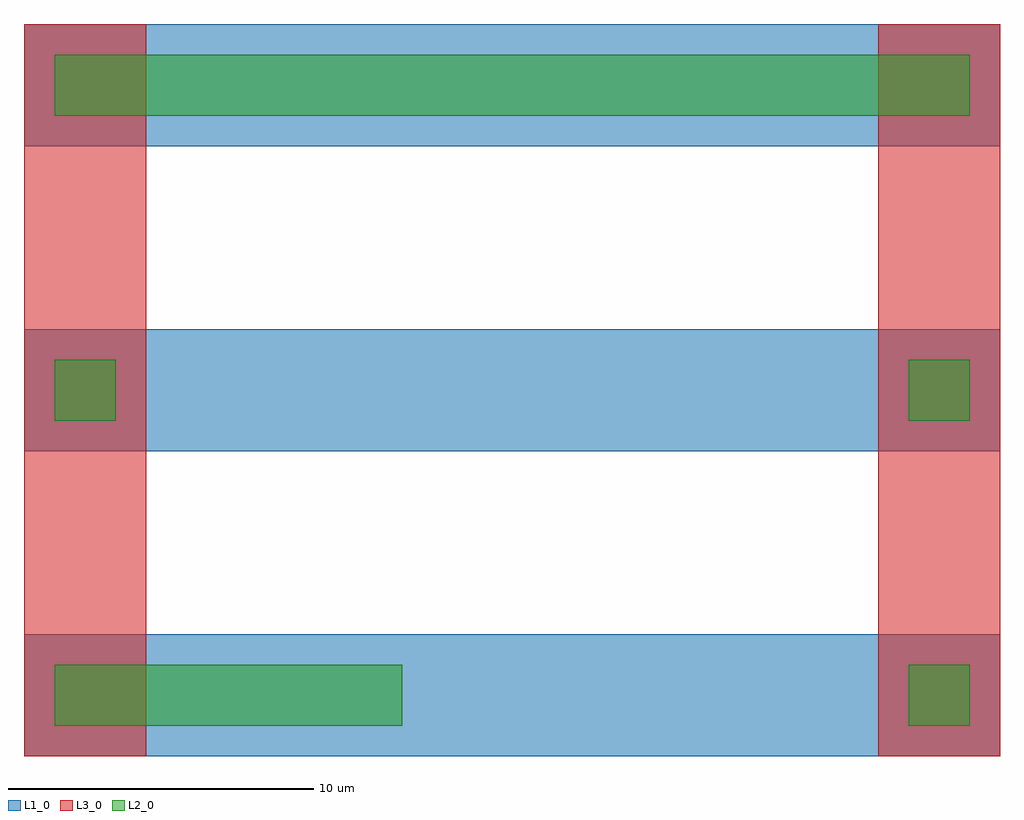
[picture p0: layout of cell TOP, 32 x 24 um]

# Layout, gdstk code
import gdstk
lib = gdstk.Library(unit=1e-6, precision=1e-09)
def R(c, l, rs):  # rectangles x0, y0, x1, y1
    for r in rs: c.add(gdstk.rectangle(r[:2], r[2:], *l))
def A(c, l, x, y, w, h, nx, ny, dx, dy):  # array of equal rectangles
    R(c, l, [(x+i*dx, y+j*dy, x+i*dx+w, y+j*dy+h) for i in range(nx) for j in range(ny)])
L1_0 = (1, 0)
L2_0 = (2, 0)
L3_0 = (3, 0)
L100_0 = (100, 0)
L101_0 = (101, 0)
L102_0 = (102, 0)

top = lib.new_cell('TOP')
A(top, L1_0, 0, 0, 16, 4, 1, 3, 0, 10)
A(top, L1_0, 16, 0, 16, 4, 1, 3, 0, 10)
A(top, L2_0, 1, 1, 2, 2, 1, 3, 0, 10)
A(top, L2_0, 29, 1, 2, 2, 1, 3, 0, 10)
R(top, L2_0, [(3,1,12.4,3), (3,21,29,23)])
R(top, L3_0, [(0,0,4,24), (28,0,32,24)])
top.add(gdstk.FlexPath([(0,10),(0,14)], 0, ends="flush", simple_path=True, layer=100, datatype=0))  # L100_0
top.add(gdstk.FlexPath([(0,0),(0,4)], 0, ends="flush", simple_path=True, layer=100, datatype=0))  # L100_0
top.add(gdstk.FlexPath([(0,20),(0,24)], 0, ends="flush", simple_path=True, layer=100, datatype=0))  # L100_0
top.add(gdstk.FlexPath([(0,14),(32,14)], 0, ends="flush", simple_path=True, layer=100, datatype=0))  # L100_0
top.add(gdstk.FlexPath([(32,14),(32,10)], 0, ends="flush", simple_path=True, layer=100, datatype=0))  # L100_0
top.add(gdstk.FlexPath([(32,10),(0,10)], 0, ends="flush", simple_path=True, layer=100, datatype=0))  # L100_0
top.add(gdstk.FlexPath([(0,24),(32,24)], 0, ends="flush", simple_path=True, layer=100, datatype=0))  # L100_0
top.add(gdstk.FlexPath([(32,24),(32,20)], 0, ends="flush", simple_path=True, layer=100, datatype=0))  # L100_0
top.add(gdstk.FlexPath([(32,20),(0,20)], 0, ends="flush", simple_path=True, layer=100, datatype=0))  # L100_0
top.add(gdstk.FlexPath([(0,4),(32,4)], 0, ends="flush", simple_path=True, layer=100, datatype=0))  # L100_0
top.add(gdstk.FlexPath([(32,4),(32,0)], 0, ends="flush", simple_path=True, layer=100, datatype=0))  # L100_0
top.add(gdstk.FlexPath([(32,0),(0,0)], 0, ends="flush", simple_path=True, layer=100, datatype=0))  # L100_0
top.add(gdstk.FlexPath([(12.4,3),(12.4,1)], 0, ends="flush", simple_path=True, layer=101, datatype=0))  # L101_0
top.add(gdstk.FlexPath([(1,11),(1,13)], 0, ends="flush", simple_path=True, layer=101, datatype=0))  # L101_0
top.add(gdstk.FlexPath([(1,13),(3,13)], 0, ends="flush", simple_path=True, layer=101, datatype=0))  # L101_0
top.add(gdstk.FlexPath([(3,13),(3,11)], 0, ends="flush", simple_path=True, layer=101, datatype=0))  # L101_0
top.add(gdstk.FlexPath([(3,11),(1,11)], 0, ends="flush", simple_path=True, layer=101, datatype=0))  # L101_0
top.add(gdstk.FlexPath([(1,1),(1,3)], 0, ends="flush", simple_path=True, layer=101, datatype=0))  # L101_0
top.add(gdstk.FlexPath([(1,3),(12.4,3)], 0, ends="flush", simple_path=True, layer=101, datatype=0))  # L101_0
top.add(gdstk.FlexPath([(12.4,1),(1,1)], 0, ends="flush", simple_path=True, layer=101, datatype=0))  # L101_0
top.add(gdstk.FlexPath([(1,21),(1,23)], 0, ends="flush", simple_path=True, layer=101, datatype=0))  # L101_0
top.add(gdstk.FlexPath([(29,11),(29,13)], 0, ends="flush", simple_path=True, layer=101, datatype=0))  # L101_0
top.add(gdstk.FlexPath([(29,13),(31,13)], 0, ends="flush", simple_path=True, layer=101, datatype=0))  # L101_0
top.add(gdstk.FlexPath([(31,13),(31,11)], 0, ends="flush", simple_path=True, layer=101, datatype=0))  # L101_0
top.add(gdstk.FlexPath([(31,11),(29,11)], 0, ends="flush", simple_path=True, layer=101, datatype=0))  # L101_0
top.add(gdstk.FlexPath([(1,23),(31,23)], 0, ends="flush", simple_path=True, layer=101, datatype=0))  # L101_0
top.add(gdstk.FlexPath([(31,23),(31,21)], 0, ends="flush", simple_path=True, layer=101, datatype=0))  # L101_0
top.add(gdstk.FlexPath([(31,21),(1,21)], 0, ends="flush", simple_path=True, layer=101, datatype=0))  # L101_0
top.add(gdstk.FlexPath([(29,1),(29,3)], 0, ends="flush", simple_path=True, layer=101, datatype=0))  # L101_0
top.add(gdstk.FlexPath([(29,3),(31,3)], 0, ends="flush", simple_path=True, layer=101, datatype=0))  # L101_0
top.add(gdstk.FlexPath([(31,3),(31,1)], 0, ends="flush", simple_path=True, layer=101, datatype=0))  # L101_0
top.add(gdstk.FlexPath([(31,1),(29,1)], 0, ends="flush", simple_path=True, layer=101, datatype=0))  # L101_0
top.add(gdstk.FlexPath([(0,0),(0,24)], 0, ends="flush", simple_path=True, layer=102, datatype=0))  # L102_0
top.add(gdstk.FlexPath([(0,24),(4,24)], 0, ends="flush", simple_path=True, layer=102, datatype=0))  # L102_0
top.add(gdstk.FlexPath([(4,24),(4,0)], 0, ends="flush", simple_path=True, layer=102, datatype=0))  # L102_0
top.add(gdstk.FlexPath([(4,0),(0,0)], 0, ends="flush", simple_path=True, layer=102, datatype=0))  # L102_0
top.add(gdstk.FlexPath([(28,0),(28,24)], 0, ends="flush", simple_path=True, layer=102, datatype=0))  # L102_0
top.add(gdstk.FlexPath([(28,24),(32,24)], 0, ends="flush", simple_path=True, layer=102, datatype=0))  # L102_0
top.add(gdstk.FlexPath([(32,24),(32,0)], 0, ends="flush", simple_path=True, layer=102, datatype=0))  # L102_0
top.add(gdstk.FlexPath([(32,0),(28,0)], 0, ends="flush", simple_path=True, layer=102, datatype=0))  # L102_0

lib.write_gds('TOP.gds')
